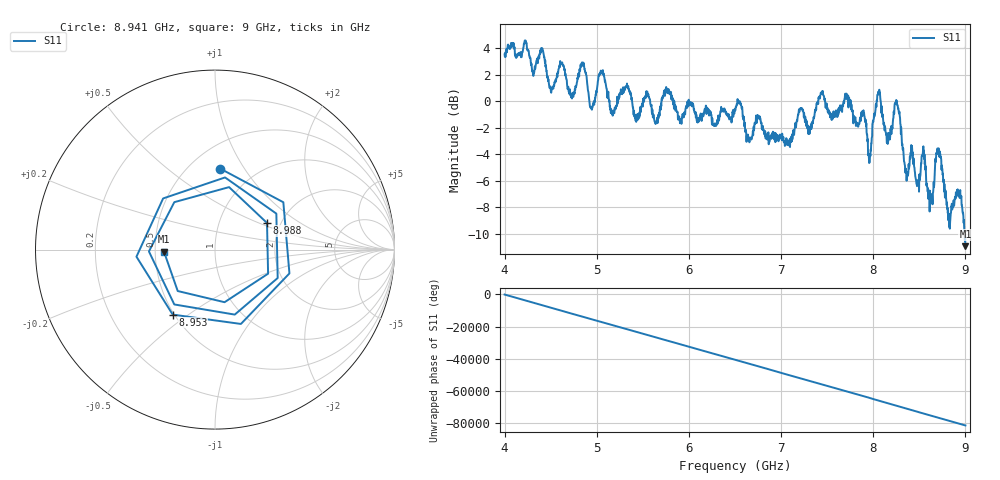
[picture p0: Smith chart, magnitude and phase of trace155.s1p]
! Created with skrf 1.8.0 (http://scikit-rf.org).
# Hz S RI R 50.0
!freq ReS11 ImS11
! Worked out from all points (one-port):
!   1601 points, 4 GHz to 9 GHz, reference 50 ohm
!   lowest |S11| = -10.9 dB at 9 GHz (marker M1), VSWR 1.79, Z = 27.9 - j0.726 ohm
!   |S11| at or under -10 dB: 8.99193 GHz to end of sweep
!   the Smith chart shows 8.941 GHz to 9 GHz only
!   S11 on the Smith chart (normalised r, x): 8.941 GHz: 0.69, +0.79; 8.953 GHz: 0.49, -0.44; 8.988 GHz: 1.70, +0.56; 9 GHz: 0.56, -0.01
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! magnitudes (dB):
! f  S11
! 4 GHz  3.6
! 4.406 GHz  4.0
! 4.509 GHz  0.9
! 4.625 GHz  2.9
! 4.734 GHz  0.5
! 4.85 GHz  2.9
! 4.947 GHz  -0.6
! 5.044 GHz  2.3
! 5.166 GHz  -1.0
! 5.25 GHz  0.6
! 5.875 GHz  -0.8
! 6.5 GHz  -0.6
! 7.125 GHz  -2.7
! 7.431 GHz  0.7
! 7.75 GHz  -0.3
! 7.962 GHz  -4.6
! 8.053 GHz  0.7
! 8.159 GHz  -3.2
! 8.256 GHz  0.0
! 8.375 GHz  -5.3
! 8.544 GHz  -3.4
! 8.622 GHz  -7.3
! 8.709 GHz  -3.5
! 8.819 GHz  -8.5
! 8.941 GHz  -6.9
! 8.953 GHz  -7.3
! 8.988 GHz  -9.7
! 9 GHz  -10.9
